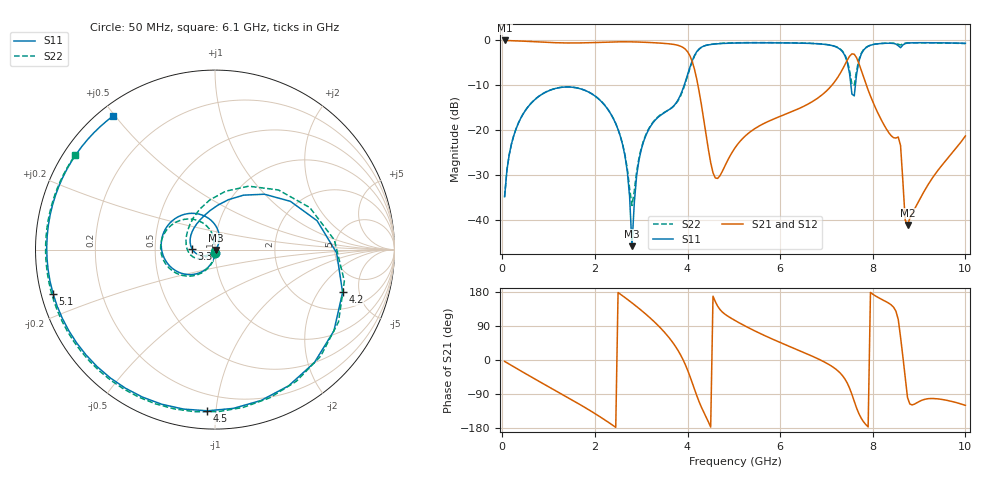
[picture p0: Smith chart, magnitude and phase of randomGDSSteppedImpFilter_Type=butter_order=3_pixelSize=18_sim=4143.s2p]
! freq	dB(S11)	phase(S11)	dB(S12)	phase(S12)
!  dB(S21)	phase(S21)	dB(S22)	phase(S22)
!S-par simulation data
#  GHz  S  DB  R 50
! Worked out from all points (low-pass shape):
!   200 points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, 50 MHz to 10 GHz, reference 50 ohm
!   highest |S21| = -0.03 dB at 50 MHz (marker M1); lowest = -41.1 dB at 8.75 GHz (marker M2)
!   |S21| within 3 dB of the highest: start of sweep to 4.029 GHz; 7.548024 GHz to 7.561243 GHz (13.22 MHz wide, 0.175 % of centre)
!   lowest |S11| = -45.8 dB at 2.8 GHz (marker M3), VSWR 1.01, Z = 50.4 - j0.273 ohm
!   |S11| at or under -10 dB: start of sweep to 3.927 GHz; 7.528 GHz to 7.625 GHz (96.66 MHz wide, 1.28 % of centre)
!   |S22| runs from -36.8 to -0.5 dB; largest |S21 - S12| = 0
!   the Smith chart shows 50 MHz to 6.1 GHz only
!   S11 on the Smith chart (normalised r, x): 50 MHz: 1.00, -0.04; 3.3 GHz: 0.77, +0.01; 4.2 GHz: 3.12, -3.40; 4.5 GHz: 0.10, -0.95; 5.1 GHz: 0.03, -0.13; 6.1 GHz: 0.04, +0.49
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0.05  -34.81 -87.5  -0.03 -3.7  -0.03 -3.7  -34.80 -87.2
0.55  -14.88 -130.2  -0.23 -39.4  -0.23 -39.4  -14.86 -127.4
1.75  -11.00 142.3  -0.56 -122.8  -0.56 -122.8  -10.98 152.8
2.55  -21.41 74.3  -0.33 173.6  -0.33 173.6  -21.30 99.7
2.8  -45.82 -31.9  -0.34 150.8  -0.34 150.8  -36.77 156.7
2.95  -26.72 -139.9  -0.38 136.3  -0.38 136.3  -26.26 -140.2
3.3  -17.78 177.3  -0.54 98.8  -0.54 98.8  -17.64 -162.8
3.4  -16.82 163.9  -0.61 86.6  -0.61 86.6  -16.70 -172.8
3.9  -10.82 75.0  -1.56 1.5  -1.56 1.5  -11.11 96.0
4.2  -2.50 -18.5  -8.68 -94.2  -8.68 -94.2  -2.60 -13.7
4.5  -0.92 -92.7  -27.22 -176.9  -27.22 -176.9  -0.89 -88.8
5.05  -0.59 -160.4  -23.58 102.6  -23.58 102.6  -0.54 -151.2
5.1  -0.58 -164.8  -22.90 99.2  -22.90 99.2  -0.53 -155.1
6.1  -0.57 127.4  -16.51 41.0  -16.51 41.0  -0.53 146.1
6.7  -0.70 93.1  -13.61 9.7  -13.61 9.7  -0.68 116.4
7.35  -2.57 44.2  -6.38 -41.9  -6.38 -41.9  -2.45 73.8
7.55  -11.96 38.1  -3.00 -91.0  -3.00 -91.0  -9.83 73.4
7.85  -1.66 74.0  -9.65 -170.4  -9.65 -170.4  -1.59 98.6
8.35  -0.64 36.2  -20.63 149.6  -20.63 149.6  -0.62 64.2
8.6  -1.63 25.9  -23.42 60.3  -23.42 60.3  -1.04 53.0
8.75  -0.61 20.2  -41.11 -99.1  -41.11 -99.1  -0.58 46.5
10  -0.66 -33.7  -21.28 -119.7  -21.28 -119.7  -0.71 -11.4
